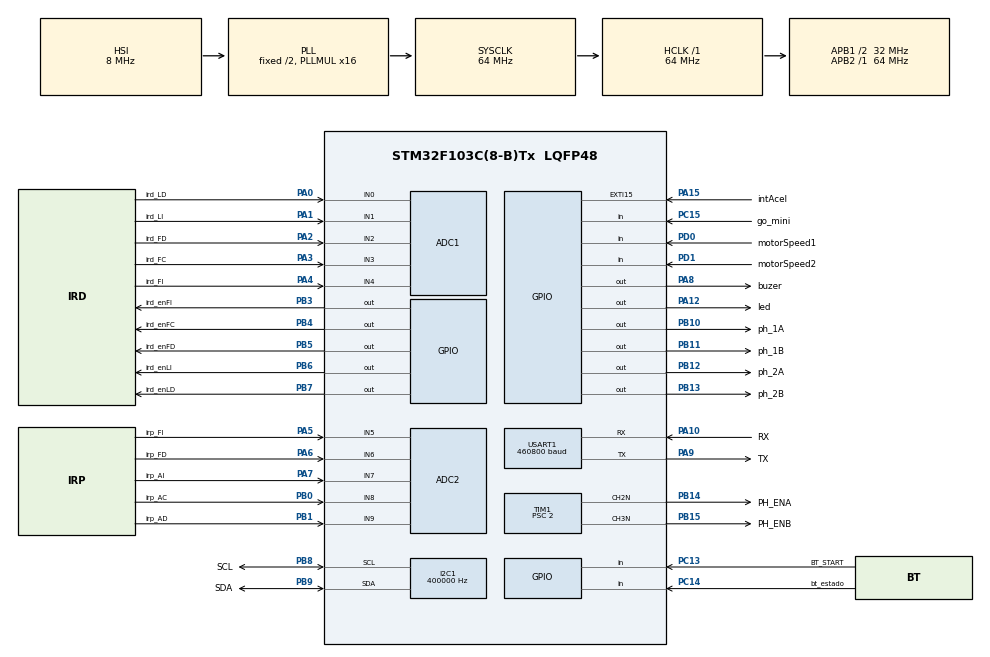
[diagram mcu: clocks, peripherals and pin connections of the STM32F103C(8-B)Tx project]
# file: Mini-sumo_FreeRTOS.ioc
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ADC1.Channel-10\#ChannelRegularConversion=ADC_CHANNEL_1
ADC1.Channel-11\#ChannelRegularConversion=ADC_CHANNEL_2
ADC1.Channel-12\#ChannelRegularConversion=ADC_CHANNEL_3
ADC1.Channel-13\#ChannelRegularConversion=ADC_CHANNEL_4
ADC1.Channel-9\#ChannelRegularConversion=ADC_CHANNEL_0
ADC1.ContinuousConvMode=DISABLE
ADC1.DataAlign=ADC_DATAALIGN_RIGHT
ADC1.DiscontinuousConvMode=DISABLE
ADC1.EnableRegularConversion=ENABLE
ADC1.InjNumberOfConversion=0
ADC1.Mode=ADC_DUALMODE_REGSIMULT
ADC1.NbrOfConversion=5
ADC1.NbrOfConversionFlag=1
ADC1.Rank-10\#ChannelRegularConversion=2
ADC1.Rank-11\#ChannelRegularConversion=3
ADC1.Rank-12\#ChannelRegularConversion=4
ADC1.Rank-13\#ChannelRegularConversion=5
ADC1.Rank-9\#ChannelRegularConversion=1
ADC1.SamplingTime-10\#ChannelRegularConversion=ADC_SAMPLETIME_239CYCLES_5
ADC1.SamplingTime-11\#ChannelRegularConversion=ADC_SAMPLETIME_239CYCLES_5
ADC1.SamplingTime-12\#ChannelRegularConversion=ADC_SAMPLETIME_239CYCLES_5
ADC1.SamplingTime-13\#ChannelRegularConversion=ADC_SAMPLETIME_239CYCLES_5
ADC1.SamplingTime-9\#ChannelRegularConversion=ADC_SAMPLETIME_239CYCLES_5
ADC1.ScanConvMode=ADC_SCAN_ENABLE
ADC1.master=1
ADC2.Channel-31\#ChannelRegularConversion=ADC_CHANNEL_5
ADC2.Channel-36\#ChannelRegularConversion=ADC_CHANNEL_6
ADC2.Channel-37\#ChannelRegularConversion=ADC_CHANNEL_7
ADC2.Channel-38\#ChannelRegularConversion=ADC_CHANNEL_8
ADC2.Channel-39\#ChannelRegularConversion=ADC_CHANNEL_9
ADC2.ContinuousConvMode=DISABLE
ADC2.DataAlign=ADC_DATAALIGN_RIGHT
ADC2.DiscontinuousConvMode=DISABLE
ADC2.EnableAnalogWatchDog=false
ADC2.EnableRegularConversion=ENABLE
ADC2.InjNumberOfConversion=0
ADC2.Mode=ADC_DUALMODE_REGSIMULT
ADC2.NbrOfConversion=5
ADC2.NbrOfConversionFlag=1
ADC2.Rank-31\#ChannelRegularConversion=1
ADC2.Rank-36\#ChannelRegularConversion=2
ADC2.Rank-37\#ChannelRegularConversion=3
ADC2.Rank-38\#ChannelRegularConversion=4
ADC2.Rank-39\#ChannelRegularConversion=5
ADC2.SamplingTime-31\#ChannelRegularConversion=ADC_SAMPLETIME_239CYCLES_5
ADC2.SamplingTime-36\#ChannelRegularConversion=ADC_SAMPLETIME_239CYCLES_5
ADC2.SamplingTime-37\#ChannelRegularConversion=ADC_SAMPLETIME_239CYCLES_5
ADC2.SamplingTime-38\#ChannelRegularConversion=ADC_SAMPLETIME_239CYCLES_5
ADC2.SamplingTime-39\#ChannelRegularConversion=ADC_SAMPLETIME_239CYCLES_5
ADC2.ScanConvMode=ADC_SCAN_ENABLE
Dma.ADC1.2.Direction=DMA_PERIPH_TO_MEMORY
Dma.ADC1.2.Instance=DMA1_Channel1
Dma.ADC1.2.MemDataAlignment=DMA_MDATAALIGN_WORD
Dma.ADC1.2.MemInc=DMA_MINC_ENABLE
Dma.ADC1.2.Mode=DMA_CIRCULAR
Dma.ADC1.2.PeriphDataAlignment=DMA_PDATAALIGN_WORD
Dma.ADC1.2.PeriphInc=DMA_PINC_DISABLE
Dma.ADC1.2.Priority=DMA_PRIORITY_VERY_HIGH
Dma.I2C1_RX.3.Direction=DMA_PERIPH_TO_MEMORY
Dma.I2C1_RX.3.Instance=DMA1_Channel7
Dma.I2C1_RX.3.MemDataAlignment=DMA_MDATAALIGN_BYTE
Dma.I2C1_RX.3.MemInc=DMA_MINC_ENABLE
Dma.I2C1_RX.3.Mode=DMA_NORMAL
Dma.I2C1_RX.3.PeriphDataAlignment=DMA_PDATAALIGN_BYTE
Dma.I2C1_RX.3.PeriphInc=DMA_PINC_DISABLE
Dma.I2C1_RX.3.Priority=DMA_PRIORITY_HIGH
Dma.I2C1_TX.4.Direction=DMA_MEMORY_TO_PERIPH
Dma.I2C1_TX.4.Instance=DMA1_Channel6
Dma.I2C1_TX.4.MemDataAlignment=DMA_MDATAALIGN_BYTE
Dma.I2C1_TX.4.MemInc=DMA_MINC_ENABLE
Dma.I2C1_TX.4.Mode=DMA_NORMAL
Dma.I2C1_TX.4.PeriphDataAlignment=DMA_PDATAALIGN_BYTE
Dma.I2C1_TX.4.PeriphInc=DMA_PINC_DISABLE
Dma.I2C1_TX.4.Priority=DMA_PRIORITY_HIGH
Dma.Request0=USART1_RX
Dma.Request1=USART1_TX
Dma.Request2=ADC1
Dma.Request3=I2C1_RX
Dma.Request4=I2C1_TX
Dma.USART1_RX.0.Direction=DMA_PERIPH_TO_MEMORY
Dma.USART1_RX.0.Instance=DMA1_Channel5
Dma.USART1_RX.0.MemDataAlignment=DMA_MDATAALIGN_BYTE
Dma.USART1_RX.0.MemInc=DMA_MINC_ENABLE
Dma.USART1_RX.0.Mode=DMA_NORMAL
Dma.USART1_RX.0.PeriphDataAlignment=DMA_PDATAALIGN_BYTE
Dma.USART1_RX.0.PeriphInc=DMA_PINC_DISABLE
Dma.USART1_RX.0.Priority=DMA_PRIORITY_LOW
Dma.USART1_TX.1.Direction=DMA_MEMORY_TO_PERIPH
Dma.USART1_TX.1.Instance=DMA1_Channel4
Dma.USART1_TX.1.MemDataAlignment=DMA_MDATAALIGN_BYTE
Dma.USART1_TX.1.MemInc=DMA_MINC_ENABLE
Dma.USART1_TX.1.Mode=DMA_NORMAL
Dma.USART1_TX.1.PeriphDataAlignment=DMA_PDATAALIGN_BYTE
Dma.USART1_TX.1.PeriphInc=DMA_PINC_DISABLE
Dma.USART1_TX.1.Priority=DMA_PRIORITY_HIGH
FREERTOS.BinarySemaphores01=serialSemTx,Dynamic,NULL;serialSemRx,Dynamic,NULL;irdist,Dynamic,NULL;imuSem,Dynamic,NULL;irflr,Dynamic,NULL;i2cSem,Dynamic,NULL
FREERTOS.INCLUDE_uxTaskPriorityGet=0
FREERTOS.INCLUDE_vTaskDelete=0
FREERTOS.INCLUDE_vTaskPrioritySet=0
FREERTOS.INCLUDE_xTaskResumeFromISR=0
FREERTOS.MEMORY_ALLOCATION=2
FREERTOS.Queues01=serialQueue,4,message,0,Dynamic,NULL,NULL;motorRQueue,1,message,0,Dynamic,NULL,NULL;motorLQueue,1,message,0,Dynamic,NULL,NULL;sensorsDistQueue,1,message,0,Dynamic,NULL,NULL;sensorsFloorQueue,1,message,0,Dynamic,NULL,NULL;imuQueue,1,message,0,Dynamic,NULL,NULL;miniQueue,4,message,0,Dynamic,NULL,NULL
FREERTOS.Tasks01=defaultTask,0,64,StartDefaultTask,Default,NULL,Dynamic,NULL,NULL;motorD,2,64,motorR,As external,NULL,Dynamic,NULL,NULL;motorI,2,64,motorL,As external,NULL,Dynamic,NULL,NULL;usart,3,64,serial,As external,NULL,Dynamic,NULL,NULL;sensorFloor,2,64,sensorsFloor,As external,NULL,Dynamic,NULL,NULL;sensorDist,0,64,sensorsDist,As external,NULL,Dynamic,NULL,NULL;acelerometro,1,256,imu,As external,NULL,Dynamic,NULL,NULL;minisumo,3,64,mini,As external,NULL,Dynamic,NULL,NULL;oledDis,0,256,oled,As external,NULL,Dynamic,NULL,NULL
FREERTOS.configCHECK_FOR_STACK_OVERFLOW=2
FREERTOS.configENABLE_BACKWARD_COMPATIBILITY=0
FREERTOS.configMAX_TASK_NAME_LEN=13
FREERTOS.configMINIMAL_STACK_SIZE=64
FREERTOS.configQUEUE_REGISTRY_SIZE=8
FREERTOS.configTOTAL_HEAP_SIZE=10500
FREERTOS.configUSE_MALLOC_FAILED_HOOK=1
FREERTOS.configUSE_MUTEXES=0
FREERTOS.configUSE_TASK_NOTIFICATIONS=1
FREERTOS.configUSE_TRACE_FACILITY=1
I2C1.ClockSpeed=400000
I2C1.I2C_Mode=I2C_Fast
I2C1.OwnAddress=0x0
Mcu.Family=STM32F1
Mcu.Name=STM32F103C(8-B)Tx
Mcu.Package=LQFP48
NVIC.ADC1_2_IRQn=true\:5\:0\:true\:false\:true\:true\:true\:true
NVIC.DMA1_Channel1_IRQn=true\:5\:0\:false\:false\:true\:true\:false\:true
NVIC.DMA1_Channel4_IRQn=true\:5\:0\:false\:false\:true\:true\:false\:true
NVIC.DMA1_Channel5_IRQn=true\:5\:0\:false\:false\:true\:true\:false\:true
NVIC.DMA1_Channel6_IRQn=true\:5\:0\:false\:false\:true\:true\:false\:true
NVIC.DMA1_Channel7_IRQn=true\:5\:0\:false\:false\:true\:true\:false\:true
NVIC.EXTI15_10_IRQn=true\:5\:0\:true\:false\:true\:true\:true\:true
NVIC.I2C1_ER_IRQn=true\:5\:0\:true\:false\:true\:true\:true\:true
NVIC.I2C1_EV_IRQn=true\:5\:0\:true\:false\:true\:true\:true\:true
NVIC.PriorityGroup=NVIC_PRIORITYGROUP_4
NVIC.TIM1_CC_IRQn=true\:5\:0\:false\:false\:true\:true\:true\:true
NVIC.TIM2_IRQn=true\:0\:0\:false\:false\:true\:false\:false\:true
NVIC.TIM3_IRQn=true\:0\:0\:false\:false\:true\:false\:true\:true
NVIC.TimeBase=TIM2_IRQn
NVIC.TimeBaseIP=TIM2
NVIC.USART1_IRQn=true\:5\:0\:true\:false\:true\:true\:true\:true
PA0-WKUP.GPIO_Label=ird_LD
PA0-WKUP.Signal=ADCx_IN0
PA1.GPIO_Label=ird_LI
PA1.Signal=ADCx_IN1
PA10.GPIO_Label=RX
PA10.Mode=Asynchronous
PA10.Signal=USART1_RX
PA12.GPIO_Label=led
PA12.GPIO_Speed=GPIO_SPEED_FREQ_HIGH
PA12.Signal=GPIO_Output
PA13.Mode=Serial_Wire
PA13.Signal=SYS_JTMS-SWDIO
PA14.Mode=Serial_Wire
PA14.Signal=SYS_JTCK-SWCLK
PA15.GPIO_Label=intAcel
PA15.Signal=GPXTI15
PA2.GPIO_Label=ird_FD
PA2.Signal=ADCx_IN2
PA3.GPIO_Label=ird_FC
PA3.Signal=ADCx_IN3
PA4.GPIO_Label=ird_FI
PA4.Signal=ADCx_IN4
PA5.GPIO_Label=irp_FI
PA5.Signal=ADCx_IN5
PA6.GPIO_Label=irp_FD
PA6.Signal=ADCx_IN6
PA7.GPIO_Label=irp_AI
PA7.Signal=ADCx_IN7
PA8.GPIO_Label=buzer
PA8.Signal=GPIO_Output
PA9.GPIO_Label=TX
PA9.Mode=Asynchronous
PA9.Signal=USART1_TX
PB0.GPIO_Label=irp_AC
PB0.Signal=ADCx_IN8
PB1.GPIO_Label=irp_AD
PB1.Signal=ADCx_IN9
PB10.GPIO_Label=ph_1A
PB10.GPIO_Speed=GPIO_SPEED_FREQ_LOW
PB10.Signal=GPIO_Output
PB11.GPIO_Label=ph_1B
PB11.Signal=GPIO_Output
PB12.GPIO_Label=ph_2A
PB12.Signal=GPIO_Output
PB13.GPIO_Label=ph_2B
PB13.Signal=GPIO_Output
PB14.GPIO_Label=PH_ENA
PB14.GPIO_Speed=GPIO_SPEED_FREQ_MEDIUM
PB14.Mode=PWM Generation2 CH2N
PB14.Signal=TIM1_CH2N
PB15.GPIO_Label=PH_ENB
PB15.GPIO_Speed=GPIO_SPEED_FREQ_MEDIUM
PB15.Mode=PWM Generation3 CH3N
PB15.Signal=TIM1_CH3N
PB3.GPIO_Label=ird_enFI
PB3.Signal=GPIO_Output
PB4.GPIO_Label=ird_enFC
PB4.Signal=GPIO_Output
PB5.GPIO_Label=ird_enFD
PB5.Signal=GPIO_Output
PB6.GPIO_Label=ird_enLI
PB6.Signal=GPIO_Output
PB7.GPIO_Label=ird_enLD
PB7.Signal=GPIO_Output
PB8.GPIO_Label=SCL
PB8.GPIO_Speed=GPIO_SPEED_FREQ_HIGH
PB8.Mode=I2C
PB8.Signal=I2C1_SCL
PB9.GPIO_Label=SDA
PB9.GPIO_Speed=GPIO_SPEED_FREQ_HIGH
PB9.Mode=I2C
PB9.Signal=I2C1_SDA
PC13-TAMPER-RTC.GPIO_Label=BT_START
PC13-TAMPER-RTC.Signal=GPIO_Input
PC14-OSC32_IN.GPIO_Label=bt_estado
PC14-OSC32_IN.Signal=GPIO_Input
PC15-OSC32_OUT.GPIO_Label=go_mini
PC15-OSC32_OUT.Signal=GPIO_Input
PD0-OSC_IN.GPIO_Label=motorSpeed1
PD0-OSC_IN.GPIO_PuPd=GPIO_PULLUP
PD0-OSC_IN.Signal=GPIO_Input
PD1-OSC_OUT.GPIO_Label=motorSpeed2
PD1-OSC_OUT.GPIO_PuPd=GPIO_PULLUP
PD1-OSC_OUT.Signal=GPIO_Input
ProjectManager.HeapSize=0x200
ProjectManager.StackSize=0x400
ProjectManager.TargetToolchain=Makefile
RCC.ADCPresc=RCC_ADCPCLK2_DIV6
RCC.AHBFreq_Value=64000000
RCC.APB1CLKDivider=RCC_HCLK_DIV2
RCC.APB1Freq_Value=32000000
RCC.APB1TimFreq_Value=64000000
RCC.APB2Freq_Value=64000000
RCC.APB2TimFreq_Value=64000000
RCC.HCLKFreq_Value=64000000
RCC.PLLMUL=RCC_PLL_MUL16
RCC.SYSCLKFreq_VALUE=64000000
RCC.SYSCLKSource=RCC_SYSCLKSOURCE_PLLCLK
RCC.USBFreq_Value=64000000
SH.ADCx_IN0.0=ADC1_IN0,IN0
SH.ADCx_IN1.0=ADC1_IN1,IN1
SH.ADCx_IN2.0=ADC1_IN2,IN2
SH.ADCx_IN3.0=ADC1_IN3,IN3
SH.ADCx_IN4.0=ADC1_IN4,IN4
SH.ADCx_IN5.0=ADC2_IN5,IN5
SH.ADCx_IN6.0=ADC2_IN6,IN6
SH.ADCx_IN7.0=ADC2_IN7,IN7
SH.ADCx_IN8.0=ADC2_IN8,IN8
SH.ADCx_IN9.0=ADC2_IN9,IN9
TIM1.AutoReloadPreload=TIM_AUTORELOAD_PRELOAD_DISABLE
TIM1.Channel-PWM\ Generation2\ CH2N=TIM_CHANNEL_2
TIM1.Channel-PWM\ Generation3\ CH3N=TIM_CHANNEL_3
TIM1.OCMode_PWM-PWM\ Generation3\ CH3N=TIM_OCMODE_PWM2
TIM1.OCNPolarity_2=TIM_OCNPOLARITY_HIGH
TIM1.OCNPolarity_3=TIM_OCNPOLARITY_LOW
TIM1.Period=255
TIM1.Prescaler=2
TIM1.Pulse-PWM\ Generation2\ CH2N=120
TIM1.Pulse-PWM\ Generation3\ CH3N=120
TIM3.AutoReloadPreload=TIM_AUTORELOAD_PRELOAD_DISABLE
TIM3.Period=212
TIM3.Prescaler=2
USART1.BaudRate=460800
USART1.VirtualMode=VM_ASYNC
VP_FREERTOS_VS_CMSIS_V1.Mode=CMSIS_V1
VP_SYS_VS_tim2.Mode=TIM2
VP_TIM1_VS_ClockSourceINT.Mode=Internal
VP_TIM3_VS_ClockSourceINT.Mode=Internal
board=custom

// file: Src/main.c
/* USER CODE BEGIN Header */
/**
  ******************************************************************************
  * @file           : main.c
  * @brief          : Main program body
  ******************************************************************************
  * This notice applies to any and all portions of this file
  * that are not between comment pairs USER CODE BEGIN and
  * USER CODE END. Other portions of this file, whether
  * inserted by the user or by software development tools
  * are owned by their respective copyright owners.
  *
  * Copyright (c) 2018 STMicroelectronics International N.V.
  * All rights reserved.
  *
  * Redistribution and use in source and binary forms, with or without
  * modification, are permitted, provided that the following conditions are met:
  *
  * 1. Redistribution of source code must retain the above copyright notice,
  *    this list of conditions and the following disclaimer.
  * 2. Redistributions in binary form must reproduce the above copyright notice,
  *    this list of conditions and the following disclaimer in the documentation
  *    and/or other materials provided with the distribution.
  * 3. Neither the name of STMicroelectronics nor the names of other
  *    contributors to this software may be used to endorse or promote products
  *    derived from this software without specific written permission.
  * 4. This software, including modifications and/or derivative works of this
  *    software, must execute solely and exclusively on microcontroller or
  *    microprocessor devices manufactured by or for STMicroelectronics.
  * 5. Redistribution and use of this software other than as permitted under
  *    this license is void and will automatically terminate your rights under
  *    this license.
  *
  * THIS SOFTWARE IS PROVIDED BY STMICROELECTRONICS AND CONTRIBUTORS "AS IS"
  * AND ANY EXPRESS, IMPLIED OR STATUTORY WARRANTIES, INCLUDING, BUT NOT
  * LIMITED TO, THE IMPLIED WARRANTIES OF MERCHANTABILITY, FITNESS FOR A
  * PARTICULAR PURPOSE AND NON-INFRINGEMENT OF THIRD PARTY INTELLECTUAL PROPERTY
  * RIGHTS ARE DISCLAIMED TO THE FULLEST EXTENT PERMITTED BY LAW. IN NO EVENT
  * SHALL STMICROELECTRONICS OR CONTRIBUTORS BE LIABLE FOR ANY DIRECT, INDIRECT,
  * INCIDENTAL, SPECIAL, EXEMPLARY, OR CONSEQUENTIAL DAMAGES (INCLUDING, BUT NOT
  * LIMITED TO, PROCUREMENT OF SUBSTITUTE GOODS OR SERVICES; LOSS OF USE, DATA,
  * OR PROFITS; OR BUSINESS INTERRUPTION) HOWEVER CAUSED AND ON ANY THEORY OF
  * LIABILITY, WHETHER IN CONTRACT, STRICT LIABILITY, OR TORT (INCLUDING
  * NEGLIGENCE OR OTHERWISE) ARISING IN ANY WAY OUT OF THE USE OF THIS SOFTWARE,
  * EVEN IF ADVISED OF THE POSSIBILITY OF SUCH DAMAGE.
  *
  ******************************************************************************
  */
/* USER CODE END Header */

#include "main.h"
#include "cmsis_os.h"
#include "adc.h"
#include "dma.h"
#include "i2c.h"
#include "tim.h"
#include "usart.h"
#include "gpio.h"

/* USER CODE BEGIN PV */
/* Private variables ---------------------------------------------------------*/
typedef struct puentehTag{
  uint16_t velDerecha;
  uint16_t velIzquierda;
  uint8_t dirDerecha : 2;
  uint8_t dirIzquierda : 2;
  //sobran 4bits
}puenteH;
/* USER CODE END PV */

void SystemClock_Config(void);
void MX_FREERTOS_Init(void);
/* USER CODE BEGIN PFP */
/* Private function prototypes -----------------------------------------------*/

/* USER CODE END PFP */

int main(void)
{

  /* MCU Configuration--------------------------------------------------------*/

  /* Reset of all peripherals, Initializes the Flash interface and the Systick. */
  HAL_Init();

  /* Configure the system clock */
  SystemClock_Config();

  /* Initialize all configured peripherals */
  MX_GPIO_Init();
  MX_DMA_Init();
  MX_ADC1_Init();
  MX_ADC2_Init();
  MX_I2C1_Init();
  MX_TIM1_Init();
  MX_USART1_UART_Init();
  MX_TIM3_Init();
  /* USER CODE BEGIN 2 */
  I2C_ClearBusyFlagErratum();
  /* USER CODE END 2 */

  /* Call init function for freertos objects (in freertos.c) */
  MX_FREERTOS_Init();
  /* Start scheduler */
  osKernelStart();

  /* We should never get here as control is now taken by the scheduler */
  /* Infinite loop */
  while (1)
    {

    }
}

void SystemClock_Config(void)
{
  RCC_OscInitTypeDef RCC_OscInitStruct = {0};
  RCC_ClkInitTypeDef RCC_ClkInitStruct = {0};
  RCC_PeriphCLKInitTypeDef PeriphClkInit = {0};

  /** Initializes the CPU, AHB and APB busses clocks
  */
  RCC_OscInitStruct.OscillatorType = RCC_OSCILLATORTYPE_HSI;
  RCC_OscInitStruct.HSIState = RCC_HSI_ON;
  RCC_OscInitStruct.HSICalibrationValue = RCC_HSICALIBRATION_DEFAULT;
  RCC_OscInitStruct.PLL.PLLState = RCC_PLL_ON;
  RCC_OscInitStruct.PLL.PLLSource = RCC_PLLSOURCE_HSI_DIV2;
  RCC_OscInitStruct.PLL.PLLMUL = RCC_PLL_MUL16;
  if (HAL_RCC_OscConfig(&RCC_OscInitStruct) != HAL_OK)
  {
    Error_Handler();
  }
  /** Initializes the CPU, AHB and APB busses clocks
  */
  RCC_ClkInitStruct.ClockType = RCC_CLOCKTYPE_HCLK|RCC_CLOCKTYPE_SYSCLK
                              |RCC_CLOCKTYPE_PCLK1|RCC_CLOCKTYPE_PCLK2;
  RCC_ClkInitStruct.SYSCLKSource = RCC_SYSCLKSOURCE_PLLCLK;
  RCC_ClkInitStruct.AHBCLKDivider = RCC_SYSCLK_DIV1;
  RCC_ClkInitStruct.APB1CLKDivider = RCC_HCLK_DIV2;
  RCC_ClkInitStruct.APB2CLKDivider = RCC_HCLK_DIV1;

  if (HAL_RCC_ClockConfig(&RCC_ClkInitStruct, FLASH_LATENCY_2) != HAL_OK)
  {
    Error_Handler();
  }
  PeriphClkInit.PeriphClockSelection = RCC_PERIPHCLK_ADC;
  PeriphClkInit.AdcClockSelection = RCC_ADCPCLK2_DIV6;
  if (HAL_RCCEx_PeriphCLKConfig(&PeriphClkInit) != HAL_OK)
  {
    Error_Handler();
  }
}

/* USER CODE BEGIN 4 */
volatile uint16_t usec;
/* USER CODE END 4 */

 /**
  * @brief  Period elapsed callback in non blocking mode
  * @note   This function is called  when TIM2 interrupt took place, inside
  * HAL_TIM_IRQHandler(). It makes a direct call to HAL_IncTick() to increment
  * a global variable "uwTick" used as application time base.
  * @param  htim : TIM handle
  * @retval None
  */
void HAL_TIM_PeriodElapsedCallback(TIM_HandleTypeDef *htim)
{
  /* USER CODE BEGIN Callback 0 */
;
  /* USER CODE END Callback 0 */
  if (htim->Instance == TIM2) {
    HAL_IncTick();
  }
  /* USER CODE BEGIN Callback 1 */
 if(htim->Instance == TIM3){
   usec++;
   if(usec > 65000){
     usec = 0;
     HAL_TIM_Base_Stop_IT(&htim3);
     __HAL_TIM_CLEAR_IT(&htim3 ,TIM_IT_UPDATE);
     __HAL_TIM_SET_COUNTER(&htim3, 0);
   }
   //HAL_GPIO_TogglePin(led_GPIO_Port, led_Pin);
 }
  /* USER CODE END Callback 1 */
}

void Error_Handler(void)
{
  /* USER CODE BEGIN Error_Handler_Debug */
  /* User can add his own implementation to report the HAL error return state */
  while(1)
  {
    HAL_UART_Transmit(&huart1,(uint8_t*)"ERRORHANDLER",12,1000);
  }
  /* USER CODE END Error_Handler_Debug */
}

/************************ (C) COPYRIGHT STMicroelectronics *****END OF FILE****/

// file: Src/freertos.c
/* USER CODE BEGIN Header */
/**
  ******************************************************************************
  * File Name          : freertos.c
  * Description        : Code for freertos applications
  ******************************************************************************
  * This notice applies to any and all portions of this file
  * that are not between comment pairs USER CODE BEGIN and
  * USER CODE END. Other portions of this file, whether
  * inserted by the user or by software development tools
  * are owned by their respective copyright owners.
  *
  * Copyright (c) 2018 STMicroelectronics International N.V.
  * All rights reserved.
  *
  * Redistribution and use in source and binary forms, with or without
  * modification, are permitted, provided that the following conditions are met:
  *
  * 1. Redistribution of source code must retain the above copyright notice,
  *    this list of conditions and the following disclaimer.
  * 2. Redistributions in binary form must reproduce the above copyright notice,
  *    this list of conditions and the following disclaimer in the documentation
  *    and/or other materials provided with the distribution.
  * 3. Neither the name of STMicroelectronics nor the names of other
  *    contributors to this software may be used to endorse or promote products
  *    derived from this software without specific written permission.
  * 4. This software, including modifications and/or derivative works of this
  *    software, must execute solely and exclusively on microcontroller or
  *    microprocessor devices manufactured by or for STMicroelectronics.
  * 5. Redistribution and use of this software other than as permitted under
  *    this license is void and will automatically terminate your rights under
  *    this license.
  *
  * THIS SOFTWARE IS PROVIDED BY STMICROELECTRONICS AND CONTRIBUTORS "AS IS"
  * AND ANY EXPRESS, IMPLIED OR STATUTORY WARRANTIES, INCLUDING, BUT NOT
  * LIMITED TO, THE IMPLIED WARRANTIES OF MERCHANTABILITY, FITNESS FOR A
  * PARTICULAR PURPOSE AND NON-INFRINGEMENT OF THIRD PARTY INTELLECTUAL PROPERTY
  * RIGHTS ARE DISCLAIMED TO THE FULLEST EXTENT PERMITTED BY LAW. IN NO EVENT
  * SHALL STMICROELECTRONICS OR CONTRIBUTORS BE LIABLE FOR ANY DIRECT, INDIRECT,
  * INCIDENTAL, SPECIAL, EXEMPLARY, OR CONSEQUENTIAL DAMAGES (INCLUDING, BUT NOT
  * LIMITED TO, PROCUREMENT OF SUBSTITUTE GOODS OR SERVICES; LOSS OF USE, DATA,
  * OR PROFITS; OR BUSINESS INTERRUPTION) HOWEVER CAUSED AND ON ANY THEORY OF
  * LIABILITY, WHETHER IN CONTRACT, STRICT LIABILITY, OR TORT (INCLUDING
  * NEGLIGENCE OR OTHERWISE) ARISING IN ANY WAY OUT OF THE USE OF THIS SOFTWARE,
  * EVEN IF ADVISED OF THE POSSIBILITY OF SUCH DAMAGE.
  *
  ******************************************************************************
  */
/* USER CODE END Header */

#include "FreeRTOS.h"
#include "task.h"
#include "main.h"
#include "cmsis_os.h"

/* USER CODE BEGIN Includes */
//#include "message.h"
#include "../Application/Inc/message.h"
#include "usart.h"
/* USER CODE END Includes */

osThreadId defaultTaskHandle;
osThreadId motorDHandle;
osThreadId motorIHandle;
osThreadId usartHandle;
osThreadId sensorFloorHandle;
osThreadId sensorDistHandle;
osThreadId acelerometroHandle;
osThreadId minisumoHandle;
osThreadId oledDisHandle;
osMessageQId serialQueueHandle;
osMessageQId motorRQueueHandle;
osMessageQId motorLQueueHandle;
osMessageQId sensorsDistQueueHandle;
osMessageQId sensorsFloorQueueHandle;
osMessageQId imuQueueHandle;
osMessageQId miniQueueHandle;
osSemaphoreId serialSemTxHandle;
osSemaphoreId serialSemRxHandle;
osSemaphoreId irdistHandle;
osSemaphoreId imuSemHandle;
osSemaphoreId irflrHandle;
osSemaphoreId i2cSemHandle;

/* USER CODE BEGIN FunctionPrototypes */
//extern osMessageQId* serialQHandle;
/* USER CODE END FunctionPrototypes */

void StartDefaultTask(void const * argument);
extern void motorR(void const * argument);
extern void motorL(void const * argument);
extern void serial(void const * argument);
extern void sensorsFloor(void const * argument);
extern void sensorsDist(void const * argument);
extern void imu(void const * argument);
extern void mini(void const * argument);
extern void oled(void const * argument);

void MX_FREERTOS_Init(void); /* (MISRA C 2004 rule 8.1) */

/* GetIdleTaskMemory prototype (linked to static allocation support) */
void vApplicationGetIdleTaskMemory( StaticTask_t **ppxIdleTaskTCBBuffer, StackType_t **ppxIdleTaskStackBuffer, uint32_t *pulIdleTaskStackSize );

/* Hook prototypes */
void vApplicationStackOverflowHook(TaskHandle_t xTask, signed char *pcTaskName);
void vApplicationMallocFailedHook(void);

/* USER CODE BEGIN 4 */
__weak void vApplicationStackOverflowHook(TaskHandle_t xTask, signed char *pcTaskName)
{
   /* Run time stack overflow checking is performed if
   configCHECK_FOR_STACK_OVERFLOW is defined to 1 or 2. This hook function is
   called if a stack overflow is detected. */
}
/* USER CODE END 4 */

/* USER CODE BEGIN 5 */
__weak void vApplicationMallocFailedHook(void)
{
   /* vApplicationMallocFailedHook() will only be called if
   configUSE_MALLOC_FAILED_HOOK is set to 1 in FreeRTOSConfig.h. It is a hook
   function that will get called if a call to pvPortMalloc() fails.
   pvPortMalloc() is called internally by the kernel whenever a task, queue,
   timer or semaphore is created. It is also called by various parts of the
   demo application. If heap_1.c or heap_2.c are used, then the size of the
   heap available to pvPortMalloc() is defined by configTOTAL_HEAP_SIZE in
   FreeRTOSConfig.h, and the xPortGetFreeHeapSize() API function can be used
   to query the size of free heap space that remains (although it does not
   provide information on how the remaining heap might be fragmented). */
}
/* USER CODE END 5 */

/* USER CODE BEGIN GET_IDLE_TASK_MEMORY */
static StaticTask_t xIdleTaskTCBBuffer;
static StackType_t xIdleStack[configMINIMAL_STACK_SIZE];

void vApplicationGetIdleTaskMemory( StaticTask_t **ppxIdleTaskTCBBuffer, StackType_t **ppxIdleTaskStackBuffer, uint32_t *pulIdleTaskStackSize )
{
  *ppxIdleTaskTCBBuffer = &xIdleTaskTCBBuffer;
  *ppxIdleTaskStackBuffer = &xIdleStack[0];
  *pulIdleTaskStackSize = configMINIMAL_STACK_SIZE;
  /* place for user code */
}
/* USER CODE END GET_IDLE_TASK_MEMORY */

void MX_FREERTOS_Init(void) {
  /* USER CODE BEGIN Init */
  HAL_UART_Transmit(&huart1,(uint8_t *)"Inicializacion de FreeRtos\r\n",28,200);
  HAL_UART_Transmit(&huart1,(uint8_t *)"creacion de semaforos\r\n",23,200);
  /* USER CODE END Init */

  /* Create the semaphores(s) */
  /* definition and creation of serialSemTx */
  osSemaphoreDef(serialSemTx);
  serialSemTxHandle = osSemaphoreCreate(osSemaphore(serialSemTx), 1);

  /* definition and creation of serialSemRx */
  osSemaphoreDef(serialSemRx);
  serialSemRxHandle = osSemaphoreCreate(osSemaphore(serialSemRx), 1);

  /* definition and creation of irdist */
  osSemaphoreDef(irdist);
  irdistHandle = osSemaphoreCreate(osSemaphore(irdist), 1);

  /* definition and creation of imuSem */
  osSemaphoreDef(imuSem);
  imuSemHandle = osSemaphoreCreate(osSemaphore(imuSem), 1);

  /* definition and creation of irflr */
  osSemaphoreDef(irflr);
  irflrHandle = osSemaphoreCreate(osSemaphore(irflr), 1);

  /* definition and creation of i2cSem */
  osSemaphoreDef(i2cSem);
  i2cSemHandle = osSemaphoreCreate(osSemaphore(i2cSem), 1);

  /* USER CODE BEGIN RTOS_TIMERS */
  /* start timers, add new ones, ... */
  HAL_UART_Transmit(&huart1,(uint8_t *)"Creacion de colas de comunicacion\r\n",35,200);
  /* USER CODE END RTOS_TIMERS */

  /* Create the queue(s) */
  /* definition and creation of serialQueue */
  osMessageQDef(serialQueue, 4, message);
  serialQueueHandle = osMessageCreate(osMessageQ(serialQueue), NULL);

  /* definition and creation of motorRQueue */
  osMessageQDef(motorRQueue, 1, message);
  motorRQueueHandle = osMessageCreate(osMessageQ(motorRQueue), NULL);

  /* definition and creation of motorLQueue */
  osMessageQDef(motorLQueue, 1, message);
  motorLQueueHandle = osMessageCreate(osMessageQ(motorLQueue), NULL);

  /* definition and creation of sensorsDistQueue */
  osMessageQDef(sensorsDistQueue, 1, message);
  sensorsDistQueueHandle = osMessageCreate(osMessageQ(sensorsDistQueue), NULL);

  /* definition and creation of sensorsFloorQueue */
  osMessageQDef(sensorsFloorQueue, 1, message);
  sensorsFloorQueueHandle = osMessageCreate(osMessageQ(sensorsFloorQueue), NULL);

  /* definition and creation of imuQueue */
  osMessageQDef(imuQueue, 1, message);
  imuQueueHandle = osMessageCreate(osMessageQ(imuQueue), NULL);

  /* definition and creation of miniQueue */
  osMessageQDef(miniQueue, 4, message);
  miniQueueHandle = osMessageCreate(osMessageQ(miniQueue), NULL);

  /* USER CODE BEGIN RTOS_QUEUES */
  /* add queues, ... */
  // serialQHandle = &serialQueueHandle;
  HAL_UART_Transmit(&huart1,(uint8_t *)"Creacion de tareas\r\n",20,200);
  /* USER CODE END RTOS_QUEUES */

  /* Create the thread(s) */
  /* definition and creation of defaultTask */
  osThreadDef(defaultTask, StartDefaultTask, osPriorityNormal, 0, 64);
  defaultTaskHandle = osThreadCreate(osThread(defaultTask), NULL);

  /* definition and creation of motorD */
  osThreadDef(motorD, motorR, osPriorityHigh, 0, 64);
  motorDHandle = osThreadCreate(osThread(motorD), NULL);

  /* definition and creation of motorI */
  osThreadDef(motorI, motorL, osPriorityHigh, 0, 64);
  motorIHandle = osThreadCreate(osThread(motorI), NULL);

  /* definition and creation of usart */
  osThreadDef(usart, serial, osPriorityRealtime, 0, 64);
  usartHandle = osThreadCreate(osThread(usart), NULL);

  /* definition and creation of sensorFloor */
  osThreadDef(sensorFloor, sensorsFloor, osPriorityHigh, 0, 64);
  sensorFloorHandle = osThreadCreate(osThread(sensorFloor), NULL);

  /* definition and creation of sensorDist */
  osThreadDef(sensorDist, sensorsDist, osPriorityNormal, 0, 64);
  sensorDistHandle = osThreadCreate(osThread(sensorDist), NULL);

  /* definition and creation of acelerometro */
  osThreadDef(acelerometro, imu, osPriorityAboveNormal, 0, 512);
  acelerometroHandle = osThreadCreate(osThread(acelerometro), NULL);

  /* definition and creation of minisumo */
  osThreadDef(minisumo, mini, osPriorityRealtime, 0, 64);
  minisumoHandle = osThreadCreate(osThread(minisumo), NULL);

  /* definition and creation of oledDis */
  osThreadDef(oledDis, oled, osPriorityNormal, 0, 256);
  oledDisHandle = osThreadCreate(osThread(oledDis), NULL);

  /* USER CODE BEGIN RTOS_THREADS */
  /* add threads, ... */
  HAL_UART_Transmit(&huart1,(uint8_t *)"iniciando FreeRtos\r\n",20,200);
  /* USER CODE END RTOS_THREADS */

}

void StartDefaultTask(void const * argument)
{
  /* USER CODE BEGIN StartDefaultTask */
  UNUSED(argument);
  /* Infinite loop */
  for(;;)
      {
	osDelay(1);
      }
  /* USER CODE END StartDefaultTask */
}

/************************ (C) COPYRIGHT STMicroelectronics *****END OF FILE****/
